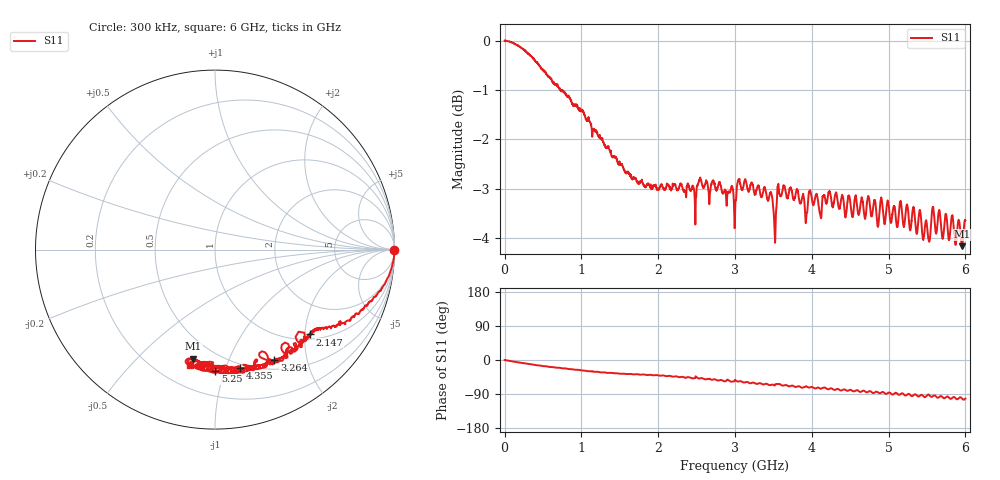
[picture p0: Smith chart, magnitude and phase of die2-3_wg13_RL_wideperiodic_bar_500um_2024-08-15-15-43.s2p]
!Keysight Technologies,P9374A,MY57304198,A.17.20.09
!Date: Thursday, August 15, 2024 15:43:57
!Correction: S11(C  1-Port  )
!S21(C  1-Port  )
!S12(Off)
!S22(Off)
!S2P File: Measurements: S11, S21, S12, S22:
# Hz S  dB  R 50
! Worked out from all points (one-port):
!   6000 points, 300 kHz to 6 GHz, reference 50 ohm
!   lowest |S11| = -4.2 dB at 5.954 GHz (marker M1), VSWR 4.25, Z = 19 - j37.3 ohm
!   |S11| at or under -10 dB: nowhere
!   S11 on the Smith chart (normalised r, x): 300 kHz: open; 2.147 GHz: 1.12, -2.13; 3.264 GHz: 0.62, -1.49; 4.355 GHz: 0.46, -1.12; 5.25 GHz: 0.37, -0.93; 6 GHz: 0.33, -0.76
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300000  -0.00 -0.0  -200.00 45.0  -200.00 45.0  -200.00 45.0
4.153484e8  -0.43 -13.8  -200.00 45.0  -200.00 45.0  -200.00 45.0
1.000417e9  -1.41 -27.6  -200.00 45.0  -200.00 45.0  -200.00 45.0
1.498475e9  -2.52 -36.1  -200.00 45.0  -200.00 45.0  -200.00 45.0
2.000533e9  -3.02 -40.6  -200.00 45.0  -200.00 45.0  -200.00 45.0
2.14655e9  -2.97 -41.7  -200.00 45.0  -200.00 45.0  -200.00 45.0
2.492591e9  -3.17 -44.5  -200.00 45.0  -200.00 45.0  -200.00 45.0
2.786625e9  -2.90 -54.1  -200.00 45.0  -200.00 45.0  -200.00 45.0
3.00065e9  -3.54 -52.2  -200.00 45.0  -200.00 45.0  -200.00 45.0
3.119664e9  -2.87 -59.5  -200.00 45.0  -200.00 45.0  -200.00 45.0
3.263681e9  -3.12 -61.7  -200.00 45.0  -200.00 45.0  -200.00 45.0
3.461704e9  -3.08 -66.2  -200.00 45.0  -200.00 45.0  -200.00 45.0
3.518711e9  -4.00 -67.1  -200.00 45.0  -200.00 45.0  -200.00 45.0
3.568716e9  -2.97 -63.4  -200.00 45.0  -200.00 45.0  -200.00 45.0
3.873752e9  -3.19 -73.1  -200.00 45.0  -200.00 45.0  -200.00 45.0
3.924758e9  -3.66 -69.1  -200.00 45.0  -200.00 45.0  -200.00 45.0
4.000767e9  -3.20 -71.1  -200.00 45.0  -200.00 45.0  -200.00 45.0
4.354808e9  -3.41 -78.0  -200.00 45.0  -200.00 45.0  -200.00 45.0
5.000883e9  -3.33 -85.9  -200.00 45.0  -200.00 45.0  -200.00 45.0
5.249912e9  -3.39 -89.9  -200.00 45.0  -200.00 45.0  -200.00 45.0
5.953995e9  -4.17 -101.3  -200.00 45.0  -200.00 45.0  -200.00 45.0
6e9  -3.64 -101.8  -200.00 45.0  -200.00 45.0  -200.00 45.0
